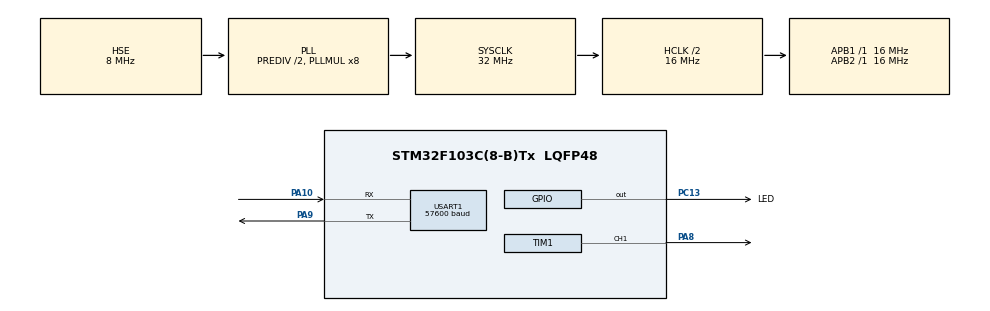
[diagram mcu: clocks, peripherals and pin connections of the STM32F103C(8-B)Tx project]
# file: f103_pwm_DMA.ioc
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Mcu.Family=STM32F1
RCC.PLLSourceVirtual=RCC_PLLSOURCE_HSE
Dma.USART1_TX.1.Instance=DMA1_Channel4
PD1-OSC_OUT.Mode=HSE-External-Oscillator
PA10.Mode=Asynchronous
Dma.USART1_TX.1.MemInc=DMA_MINC_ENABLE
USART1.BaudRate=57600
PC13-TAMPER-RTC.Signal=GPIO_Output
Dma.TIM1_CH1.0.MemDataAlignment=DMA_MDATAALIGN_WORD
PD0-OSC_IN.Signal=RCC_OSC_IN
Dma.TIM1_CH1.0.PeriphDataAlignment=DMA_PDATAALIGN_WORD
Dma.TIM1_CH1.0.Priority=DMA_PRIORITY_LOW
RCC.SYSCLKSource=RCC_SYSCLKSOURCE_PLLCLK
ProjectManager.StackSize=0x400
PD1-OSC_OUT.Signal=RCC_OSC_OUT
Dma.TIM1_CH1.0.PeriphInc=DMA_PINC_DISABLE
Dma.TIM1_CH1.0.MemInc=DMA_MINC_ENABLE
PA13.Signal=SYS_JTMS-SWDIO
PA9.Mode=Asynchronous
Dma.TIM1_CH1.0.Mode=DMA_NORMAL
TIM1.Prescaler=7999
SH.S_TIM1_CH1.0=TIM1_CH1,PWM Generation1 CH1
NVIC.DMA1_Channel2_IRQn=true\:0\:0\:false\:false\:true\:false\:true
ProjectManager.TargetToolchain=STM32CubeIDE
RCC.HCLKFreq_Value=16000000
RCC.APB2TimFreq_Value=16000000
PA9.Signal=USART1_TX
RCC.USBFreq_Value=32000000
RCC.AHBFreq_Value=16000000
PD0-OSC_IN.Mode=HSE-External-Oscillator
Dma.USART1_TX.1.MemDataAlignment=DMA_MDATAALIGN_BYTE
board=custom
PC13-TAMPER-RTC.GPIO_Label=LED
RCC.PLLMUL=RCC_PLL_MUL8
RCC.APB2Freq_Value=16000000
TIM1.Channel-PWM\ Generation1\ CH1=TIM_CHANNEL_1
PA14.Mode=Serial_Wire
PA8.Signal=S_TIM1_CH1
RCC.AHBCLKDivider=RCC_SYSCLK_DIV2
PA13.Mode=Serial_Wire
Mcu.Name=STM32F103C(8-B)Tx
VP_TIM1_VS_ClockSourceINT.Mode=Internal
Dma.USART1_TX.1.PeriphDataAlignment=DMA_PDATAALIGN_BYTE
Dma.TIM1_CH1.0.Direction=DMA_MEMORY_TO_PERIPH
RCC.SYSCLKFreq_VALUE=32000000
Mcu.Package=LQFP48
Dma.TIM1_CH1.0.Instance=DMA1_Channel2
RCC.HSEDivPLL=RCC_HSE_PREDIV_DIV2
Dma.USART1_TX.1.Mode=DMA_NORMAL
USART1.VirtualMode=VM_ASYNC
PA14.Signal=SYS_JTCK-SWCLK
PA10.Signal=USART1_RX
ProjectManager.HeapSize=0x200
Dma.USART1_TX.1.PeriphInc=DMA_PINC_DISABLE
NVIC.PriorityGroup=NVIC_PRIORITYGROUP_4
Dma.Request1=USART1_TX
RCC.APB1TimFreq_Value=16000000
Dma.USART1_TX.1.Priority=DMA_PRIORITY_LOW
TIM1.Period=999
NVIC.DMA1_Channel4_IRQn=true\:0\:0\:false\:false\:true\:false\:true
NVIC.USART1_IRQn=true\:0\:0\:false\:false\:true\:true\:true
Dma.Request0=TIM1_CH1
RCC.APB1Freq_Value=16000000
Dma.USART1_TX.1.Direction=DMA_MEMORY_TO_PERIPH

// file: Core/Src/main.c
/* USER CODE BEGIN Header */
/**
  ******************************************************************************
  * @file           : main.c
  * @brief          : Main program body
  ******************************************************************************
  * @attention
  *
  * <h2><center>&copy; Copyright (c) 2021 STMicroelectronics.
  * All rights reserved.</center></h2>
  *
  * This software component is licensed by ST under BSD 3-Clause license,
  * the "License"; You may not use this file except in compliance with the
  * License. You may obtain a copy of the License at:
  *                        opensource.org/licenses/BSD-3-Clause
  *
  ******************************************************************************
  */
/* USER CODE END Header */
#include "main.h"

/* USER CODE BEGIN Includes */
#include "stdio.h"
#include "string.h"
/* USER CODE END Includes */

/* USER CODE BEGIN PD */
#define msg_SIZE 60
#define PERIOD 100 //период импульсов Ш�?М
/* USER CODE END PD */

TIM_HandleTypeDef htim1;
DMA_HandleTypeDef hdma_tim1_ch1;

UART_HandleTypeDef huart1;
DMA_HandleTypeDef hdma_usart1_tx;

/* USER CODE BEGIN PV */
unsigned int duty_ch1 = 50; // длительность импульсов Ш�?М канала 1 таймера1
static char UART_msg_TX[msg_SIZE]; // массив для формирования сообщений для вывода по UART
uint8_t flag = 1;
uint32_t pwm_arr[200] = {  0,   10,   20,   30,    40,   50,   60,   70,   80,   90,
						  100,  110,  120,  130,   140,  150,  160,  170,  180,  190,
						  200,  210,  220,  230,   240,  250,  260,  270,  280,  290,
					      300,  310,  320,  330,   340,  350,  360,  370,  380,  390,
                          400,  410,  420,  430,   440,  450,  460,  470,  480,  490,
						  500,  510,  520,  530,   540,  550,  560,  570,  580,  590,
						  600,  610,  620,  630,   640,  650,  660,  670,  680,  690,
						  700,  710,  720,  730,   740,  750,  760,  770,  780,  790,
						  800,  810,  820,  830,   840,  850,  860,  870,  880,  890,
						  900,  910,  920,  930,   940,  950,  960,  970,  980,  990,
						  990,  980,  970,  960,   950,  940,  930,  920,  910,  900,
						  890,  880,  870,  860,   850,  840,  830,  820,  810,  800,
						  790,  780,  770,  760,   750,  740,  730,  720,  710,  700,
						  690,  680,  670,  660,   650,  640,  630,  620,  610,  600,
						  590,  580,  570,  560,   550,  540,  530,  520,  510,  500,
						  490,  480,  470,  460,   450,  440,  430,  420,  410,  400,
						  390,  380,  370,  360,   350,  340,  330,  320,  310,  300,
						  290,  280,  270,  260,   250,  240,  230,  220,  210,  200,
                          190,  180,  170,  160,   150,  140,  130,  120,  110,  100,
						  90,   80,   70,   60,    50,   40,    30,   20,   10,  0	}; //массив формирования ШИМ
//Частота шим: Fшим=Ftim/prescaler/period_counter; длительность передачи массива через DMA: Т=1/Fшим*Nэлементов_массива
/* USER CODE END PV */

void SystemClock_Config(void);
static void MX_GPIO_Init(void);
static void MX_DMA_Init(void);
static void MX_TIM1_Init(void);
static void MX_USART1_UART_Init(void);

/* USER CODE BEGIN 0 */
//прерывание 1 раз в 10 мс
/*void HAL_TIM_PeriodElapsedCallback(TIM_HandleTypeDef *htim)
{
        if(htim->Instance == TIM2) //check if the interrupt comes from TIM2
        {
        	if (flag)
        	{
        		duty_ch1 += PERIOD/100; // прибавляем длительность импульса  PWM по 1
        		TIM1->CCR1 = duty_ch1;
        		if(duty_ch1 >= PERIOD)
        		{
        			flag = 0;
        			sprintf (UART_msg_TX,"flag=0\r\n");
        			HAL_UART_Transmit(&huart1, (unsigned char*)UART_msg_TX, strlen(UART_msg_TX), 0x1000);
        		}
        	}
        	else
        	{
        		duty_ch1 -= PERIOD/100; // убавляем длительность импульса PWM по 1
        		TIM1->CCR1 = duty_ch1;
        		if(duty_ch1 <= 1)
        		{
        			flag = 1;
        			sprintf (UART_msg_TX,"flag=1\r\n");
        			HAL_UART_Transmit(&huart1, (unsigned char*)UART_msg_TX, strlen(UART_msg_TX), 0x1000);
        		}
        	}
        }
 }*/

//--------------------------------------колбэк прерывания от DMA таймера 1--------------------------------------------------//
void HAL_TIM_PWM_PulseFinishedCallback(TIM_HandleTypeDef *htim)
{
    HAL_TIM_PWM_Start_DMA(&htim1, TIM_CHANNEL_1, pwm_arr, 200);
    sprintf (UART_msg_TX,"next\r\n");
    HAL_UART_Transmit_DMA(&huart1, (uint8_t*)UART_msg_TX, strlen(UART_msg_TX));
}

//----------------------------------------------------колбэк прерывания от UART 1------------------------------------//
void HAL_UART_TxCpltCallback(UART_HandleTypeDef *huart)
{
          if(huart == &huart1)
          {

          }
}

/* USER CODE END 0 */

int main(void)
{

  /* MCU Configuration--------------------------------------------------------*/

  /* Reset of all peripherals, Initializes the Flash interface and the Systick. */
  HAL_Init();

  /* Configure the system clock */
  SystemClock_Config();

  /* Initialize all configured peripherals */
  MX_GPIO_Init();
  MX_DMA_Init();
  MX_TIM1_Init();
  MX_USART1_UART_Init();
  /* USER CODE BEGIN 2 */
//  HAL_TIM_Base_Start_IT(&htim2);
  HAL_TIM_PWM_Start_DMA(&htim1, TIM_CHANNEL_1, pwm_arr, 200); //запуск таймера 1 для генерации Ш�?Ма через DMA
  sprintf (UART_msg_TX,"pwm_start\r\n");
  HAL_UART_Transmit_DMA(&huart1, (uint8_t*)UART_msg_TX, strlen(UART_msg_TX));

  /* USER CODE END 2 */

  /* Infinite loop */
  while (1)
  {

    /* USER CODE BEGIN 3 */
	  HAL_GPIO_TogglePin(LED_GPIO_Port, LED_Pin); //помигаем
	  HAL_GPIO_TogglePin(GPIOA, GPIO_PIN_11);
	  HAL_Delay (1000);
  }
  /* USER CODE END 3 */
}

void SystemClock_Config(void)
{
  RCC_OscInitTypeDef RCC_OscInitStruct = {0};
  RCC_ClkInitTypeDef RCC_ClkInitStruct = {0};

  /** Initializes the RCC Oscillators according to the specified parameters
  * in the RCC_OscInitTypeDef structure.
  */
  RCC_OscInitStruct.OscillatorType = RCC_OSCILLATORTYPE_HSE;
  RCC_OscInitStruct.HSEState = RCC_HSE_ON;
  RCC_OscInitStruct.HSEPredivValue = RCC_HSE_PREDIV_DIV2;
  RCC_OscInitStruct.HSIState = RCC_HSI_ON;
  RCC_OscInitStruct.PLL.PLLState = RCC_PLL_ON;
  RCC_OscInitStruct.PLL.PLLSource = RCC_PLLSOURCE_HSE;
  RCC_OscInitStruct.PLL.PLLMUL = RCC_PLL_MUL8;
  if (HAL_RCC_OscConfig(&RCC_OscInitStruct) != HAL_OK)
  {
    Error_Handler();
  }
  /** Initializes the CPU, AHB and APB buses clocks
  */
  RCC_ClkInitStruct.ClockType = RCC_CLOCKTYPE_HCLK|RCC_CLOCKTYPE_SYSCLK
                              |RCC_CLOCKTYPE_PCLK1|RCC_CLOCKTYPE_PCLK2;
  RCC_ClkInitStruct.SYSCLKSource = RCC_SYSCLKSOURCE_PLLCLK;
  RCC_ClkInitStruct.AHBCLKDivider = RCC_SYSCLK_DIV2;
  RCC_ClkInitStruct.APB1CLKDivider = RCC_HCLK_DIV1;
  RCC_ClkInitStruct.APB2CLKDivider = RCC_HCLK_DIV1;

  if (HAL_RCC_ClockConfig(&RCC_ClkInitStruct, FLASH_LATENCY_1) != HAL_OK)
  {
    Error_Handler();
  }
}

static void MX_TIM1_Init(void)
{

  TIM_ClockConfigTypeDef sClockSourceConfig = {0};
  TIM_MasterConfigTypeDef sMasterConfig = {0};
  TIM_OC_InitTypeDef sConfigOC = {0};
  TIM_BreakDeadTimeConfigTypeDef sBreakDeadTimeConfig = {0};

  htim1.Instance = TIM1;
  htim1.Init.Prescaler = 159;
  htim1.Init.CounterMode = TIM_COUNTERMODE_UP;
  htim1.Init.Period = 999;
  htim1.Init.ClockDivision = TIM_CLOCKDIVISION_DIV1;
  htim1.Init.RepetitionCounter = 0;
  htim1.Init.AutoReloadPreload = TIM_AUTORELOAD_PRELOAD_DISABLE;
  if (HAL_TIM_Base_Init(&htim1) != HAL_OK)
  {
    Error_Handler();
  }
  sClockSourceConfig.ClockSource = TIM_CLOCKSOURCE_INTERNAL;
  if (HAL_TIM_ConfigClockSource(&htim1, &sClockSourceConfig) != HAL_OK)
  {
    Error_Handler();
  }
  if (HAL_TIM_PWM_Init(&htim1) != HAL_OK)
  {
    Error_Handler();
  }
  sMasterConfig.MasterOutputTrigger = TIM_TRGO_RESET;
  sMasterConfig.MasterSlaveMode = TIM_MASTERSLAVEMODE_DISABLE;
  if (HAL_TIMEx_MasterConfigSynchronization(&htim1, &sMasterConfig) != HAL_OK)
  {
    Error_Handler();
  }
  sConfigOC.OCMode = TIM_OCMODE_PWM1;
  sConfigOC.Pulse = 0;
  sConfigOC.OCPolarity = TIM_OCPOLARITY_HIGH;
  sConfigOC.OCNPolarity = TIM_OCNPOLARITY_HIGH;
  sConfigOC.OCFastMode = TIM_OCFAST_DISABLE;
  sConfigOC.OCIdleState = TIM_OCIDLESTATE_RESET;
  sConfigOC.OCNIdleState = TIM_OCNIDLESTATE_RESET;
  if (HAL_TIM_PWM_ConfigChannel(&htim1, &sConfigOC, TIM_CHANNEL_1) != HAL_OK)
  {
    Error_Handler();
  }
  sBreakDeadTimeConfig.OffStateRunMode = TIM_OSSR_DISABLE;
  sBreakDeadTimeConfig.OffStateIDLEMode = TIM_OSSI_DISABLE;
  sBreakDeadTimeConfig.LockLevel = TIM_LOCKLEVEL_OFF;
  sBreakDeadTimeConfig.DeadTime = 0;
  sBreakDeadTimeConfig.BreakState = TIM_BREAK_DISABLE;
  sBreakDeadTimeConfig.BreakPolarity = TIM_BREAKPOLARITY_HIGH;
  sBreakDeadTimeConfig.AutomaticOutput = TIM_AUTOMATICOUTPUT_DISABLE;
  if (HAL_TIMEx_ConfigBreakDeadTime(&htim1, &sBreakDeadTimeConfig) != HAL_OK)
  {
    Error_Handler();
  }
  HAL_TIM_MspPostInit(&htim1);

}

static void MX_USART1_UART_Init(void)
{

  huart1.Instance = USART1;
  huart1.Init.BaudRate = 57600;
  huart1.Init.WordLength = UART_WORDLENGTH_8B;
  huart1.Init.StopBits = UART_STOPBITS_1;
  huart1.Init.Parity = UART_PARITY_NONE;
  huart1.Init.Mode = UART_MODE_TX_RX;
  huart1.Init.HwFlowCtl = UART_HWCONTROL_NONE;
  huart1.Init.OverSampling = UART_OVERSAMPLING_16;
  if (HAL_UART_Init(&huart1) != HAL_OK)
  {
    Error_Handler();
  }

}

static void MX_DMA_Init(void)
{

  /* DMA controller clock enable */
  __HAL_RCC_DMA1_CLK_ENABLE();

  /* DMA interrupt init */
  /* DMA1_Channel2_IRQn interrupt configuration */
  HAL_NVIC_SetPriority(DMA1_Channel2_IRQn, 0, 0);
  HAL_NVIC_EnableIRQ(DMA1_Channel2_IRQn);
  /* DMA1_Channel4_IRQn interrupt configuration */
  HAL_NVIC_SetPriority(DMA1_Channel4_IRQn, 0, 0);
  HAL_NVIC_EnableIRQ(DMA1_Channel4_IRQn);

}

static void MX_GPIO_Init(void)
{
  GPIO_InitTypeDef GPIO_InitStruct = {0};

  /* GPIO Ports Clock Enable */
  __HAL_RCC_GPIOC_CLK_ENABLE();
  __HAL_RCC_GPIOD_CLK_ENABLE();
  __HAL_RCC_GPIOA_CLK_ENABLE();

  /*Configure GPIO pin Output Level */
  HAL_GPIO_WritePin(LED_GPIO_Port, LED_Pin, GPIO_PIN_RESET);

  /*Configure GPIO pin : LED_Pin */
  GPIO_InitStruct.Pin = LED_Pin;
  GPIO_InitStruct.Mode = GPIO_MODE_OUTPUT_PP;
  GPIO_InitStruct.Pull = GPIO_NOPULL;
  GPIO_InitStruct.Speed = GPIO_SPEED_FREQ_LOW;
  HAL_GPIO_Init(LED_GPIO_Port, &GPIO_InitStruct);

}

void Error_Handler(void)
{
  __disable_irq();
  while (1)
  {
  }
}

/************************ (C) COPYRIGHT STMicroelectronics *****END OF FILE****/
